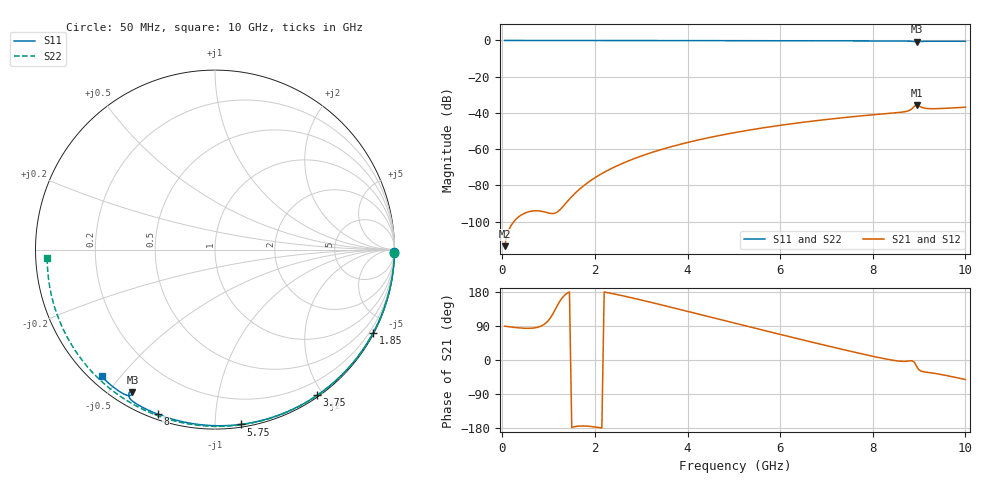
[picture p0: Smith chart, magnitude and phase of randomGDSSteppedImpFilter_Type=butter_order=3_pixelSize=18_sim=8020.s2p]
! freq	dB(S11)	phase(S11)	dB(S12)	phase(S12)
!  dB(S21)	phase(S21)	dB(S22)	phase(S22)
!S-par simulation data
#  GHz  S  DB  R 50
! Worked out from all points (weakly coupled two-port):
!   200 points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, 50 MHz to 10 GHz, reference 50 ohm
!   highest |S21| = -35.61 dB at 8.95 GHz (marker M1); lowest = -113.5 dB at 50 MHz (marker M2)
!   lowest |S11| = -0.8 dB at 8.95 GHz (marker M3), VSWR 22.99, Z = 2.89 - j28.7 ohm
!   |S11| at or under -10 dB: nowhere
!   |S22| runs from -0.6 to 0.0 dB; largest |S21 - S12| = 0
!   S11 on the Smith chart (normalised r, x): 50 MHz: open; 1.85 GHz: 0.04, -4.04; 3.75 GHz: 0.02, -1.92; 5.75 GHz: 0.02, -1.16; 8 GHz: 0.02, -0.71; 10 GHz: 0.03, -0.45
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0.05  -0.00 -0.8  -113.54 89.2  -113.54 89.2  -0.00 -1.0
0.85  -0.01 -12.9  -94.29 90.3  -94.29 90.3  -0.02 -17.3
1.75  -0.03 -26.3  -80.33 -174.1  -80.33 -174.1  -0.04 -35.2
1.85  -0.04 -27.8  -78.38 -174.7  -78.38 -174.7  -0.05 -37.1
2.15  -0.04 -32.2  -73.47 -179.5  -73.47 -179.5  -0.06 -43.0
2.5  -0.05 -37.3  -68.93 172.2  -68.93 172.2  -0.06 -49.7
2.9  -0.06 -43.0  -64.72 161.2  -64.72 161.2  -0.07 -57.2
3.4  -0.07 -50.1  -60.46 146.5  -60.46 146.5  -0.09 -66.5
3.75  -0.07 -55.0  -57.93 136.0  -57.93 136.0  -0.10 -72.9
4.4  -0.09 -63.9  -53.97 116.2  -53.97 116.2  -0.12 -84.4
5.05  -0.11 -72.6  -50.71 96.3  -50.71 96.3  -0.15 -95.6
5.75  -0.14 -81.6  -47.78 75.1  -47.78 75.1  -0.18 -107.4
6.7  -0.18 -93.5  -44.51 46.7  -44.51 46.7  -0.24 -122.9
8  -0.26 -109.3  -41.03 9.8  -41.03 9.8  -0.35 -143.9
8.35  -0.28 -113.5  -40.24 1.1  -40.24 1.1  -0.38 -149.6
8.75  -0.36 -118.9  -38.99 -3.1  -38.99 -3.1  -0.42 -156.1
8.85  -0.49 -120.6  -37.60 -2.0  -37.60 -2.0  -0.44 -157.7
8.9  -0.66 -121.0  -36.27 -6.2  -36.27 -6.2  -0.44 -158.6
8.95  -0.76 -120.1  -35.61 -17.4  -35.61 -17.4  -0.44 -159.4
9.1  -0.48 -120.8  -37.27 -31.2  -37.27 -31.2  -0.46 -161.9
9.2  -0.43 -122.2  -37.61 -32.8  -37.61 -32.8  -0.47 -163.6
10  -0.46 -131.8  -36.85 -51.5  -36.85 -51.5  -0.58 -177.2
